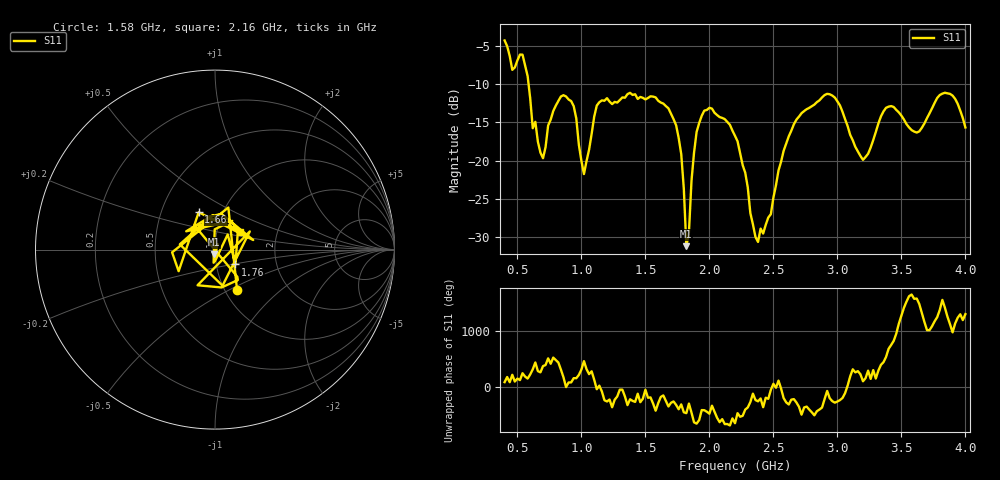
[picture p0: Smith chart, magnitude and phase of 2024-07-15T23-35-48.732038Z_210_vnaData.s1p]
!Created with skrf (http://scikit-rf.org).
# Hz S RI R 50.0
!freq ReS11 ImS11
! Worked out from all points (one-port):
!   181 points, 400 MHz to 4 GHz, reference 50 ohm
!   lowest |S11| = -31.1 dB at 1.82 GHz (marker M1), VSWR 1.06, Z = 49.2 - j2.63 ohm
!   |S11| at or under -10 dB: 587.1 MHz to end of sweep
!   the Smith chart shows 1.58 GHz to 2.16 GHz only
!   S11 on the Smith chart (normalised r, x): 1.58 GHz: 1.14, -0.55; 1.66 GHz: 0.77, +0.34; 1.76 GHz: 1.24, -0.21; 2.16 GHz: 1.30, +0.26
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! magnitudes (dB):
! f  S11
! 400 MHz  -4.3
! 460 MHz  -8.2
! 540 MHz  -6.2
! 620 MHz  -15.8
! 700 MHz  -19.7
! 860 MHz  -11.5
! 940 MHz  -12.9
! 1.02 GHz  -21.7
! 1.12 GHz  -12.8
! 1.3 GHz  -12.1
! 1.58 GHz  -11.7
! 1.66 GHz  -12.9
! 1.76 GHz  -17.0
! 1.8 GHz  -23.6
! 1.82 GHz  -31.1
! 1.88 GHz  -18.9
! 1.94 GHz  -14.1
! 2.16 GHz  -15.3
! 2.2 GHz  -16.8
! 2.38 GHz  -30.6
! 2.66 GHz  -15.2
! 2.94 GHz  -11.3
! 3.1 GHz  -16.6
! 3.2 GHz  -19.9
! 3.38 GHz  -13.1
! 3.56 GHz  -15.7
! 3.84 GHz  -11.1
! 4 GHz  -15.7
